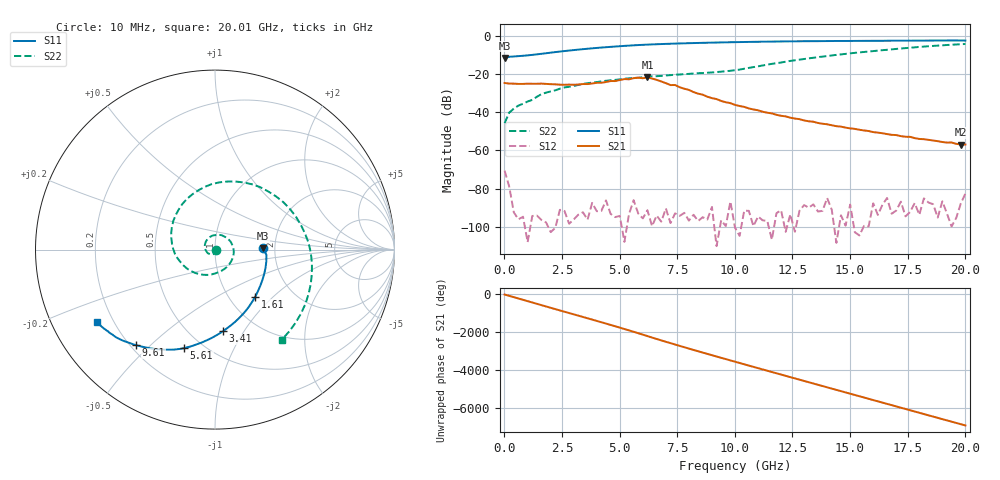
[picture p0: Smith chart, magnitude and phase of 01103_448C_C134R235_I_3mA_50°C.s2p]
!;Filter: kein Filter
!auto
!3/21/2019 9:27:07 AM
!3/21/2019 9:27:22 AM
!SP-Measurements Prober G4
!SP-Measurements Prober G4
!01103_448C
!134
!235
!12
!50
!-20
!0.00299959
!1.83
!0.38139174
!0.38139174
# Hz S  RI  R 50
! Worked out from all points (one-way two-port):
!   101 points, 10 MHz to 20.01 GHz, reference 50 ohm
!   highest |S21| = -21.64 dB at 6.21 GHz (marker M1); lowest = -56.9 dB at 19.81 GHz (marker M2)
!   lowest |S11| = -11.5 dB at 10 MHz (marker M3), VSWR 1.73, Z = 86.3 + j1.77 ohm
!   |S11| at or under -10 dB: start of sweep to 1.061 GHz
!   |S22| runs from -45.7 to -4.1 dB; largest |S21 - S12| = 0.083
!   S11 on the Smith chart (normalised r, x): 10 MHz: 1.73, +0.04; 1.61 GHz: 1.31, -0.78; 3.41 GHz: 0.71, -0.81; 5.61 GHz: 0.40, -0.65; 9.61 GHz: 0.22, -0.45; 20.01 GHz: 0.14, -0.28
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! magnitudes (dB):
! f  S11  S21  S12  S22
! 10 MHz  -11.5  -24.6  -70.6  -45.7
! 210 MHz  -10.8  -24.9  -79.0  -40.1
! 410 MHz  -10.6  -24.9  -92.5  -38.0
! 610 MHz  -10.5  -25.1  -96.2  -36.4
! 1.21 GHz  -9.8  -25.0  -94.4  -33.4
! 1.61 GHz  -9.2  -24.9  -96.5  -30.4
! 2.61 GHz  -7.8  -25.5  -91.8  -26.9
! 3.41 GHz  -6.8  -25.1  -92.5  -25.1
! 4.21 GHz  -6.0  -24.5  -91.7  -23.7
! 5.61 GHz  -4.8  -22.0  -86.1  -21.9
! 6.21 GHz  -4.4  -21.6  -91.4  -21.3
! 6.81 GHz  -4.1  -23.8  -97.4  -20.8
! 7.21 GHz  -4.0  -25.7  -98.2  -20.5
! 7.41 GHz  -3.9  -25.6  -93.0  -20.2
! 8.21 GHz  -3.6  -29.3  -93.8  -19.6
! 9.61 GHz  -3.2  -34.7  -99.7  -18.4
! 10.01 GHz  -3.1  -36.1  -100.5  -17.9
! 11.81 GHz  -2.8  -41.3  -93.0  -14.2
! 13.41 GHz  -2.6  -44.9  -88.3  -11.3
! 16.81 GHz  -2.4  -51.8  -93.2  -6.9
! 19.81 GHz  -2.3  -56.9  -87.9  -4.2
! 20.01 GHz  -2.3  -56.9  -82.6  -4.1
